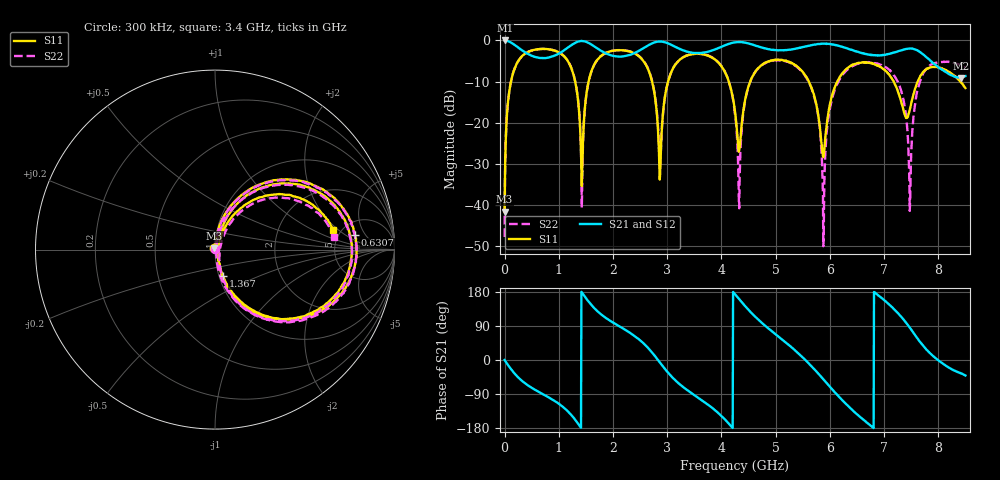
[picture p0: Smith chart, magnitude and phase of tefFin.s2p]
# Hz S RI R 50
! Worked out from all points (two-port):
!   1201 points, 300 kHz to 8.5 GHz, reference 50 ohm
!   highest |S21| = 0.00 dB at 7.383 MHz (marker M1); lowest = -9.1 dB at 8.415 GHz (marker M2)
!   |S21| within 3 dB of the highest: 2.406 GHz to 3.471 GHz (1.065 GHz wide, 36.2 % of centre); 3.647 GHz to 6.576 GHz (2.929 GHz wide, 57.3 % of centre)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
!   lowest |S11| = -41.6 dB at 300 kHz (marker M3), VSWR 1.02, Z = 49.7 + j0.755 ohm
!   |S11| at or under -10 dB: 4.136 GHz to 4.53 GHz (394.4 MHz wide, 9.1 % of centre); 5.613 GHz to 6.137 GHz (524.3 MHz wide, 8.93 % of centre); 7.178 GHz to 7.622 GHz (444.2 MHz wide, 6 % of centre)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
!   |S22| runs from -50.0 to -2.0 dB; largest |S21 - S12| = 0.013
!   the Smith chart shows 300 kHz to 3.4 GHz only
!   S11 on the Smith chart (normalised r, x): 300 kHz: 0.99, +0.02; 630.7 MHz: 6.99, +2.95; 1.367 GHz: 1.04, -0.32; 3.4 GHz: 4.34, +1.66
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300000  -0.00329 0.0076  0.9991 -0.000611  0.9958 -0.00525  0.001 0.00396
7383083  0.00201 0.0223  0.9994 -0.0286  0.9992 -0.0275  0.00237 0.0218
1.419617e8  0.179 0.326  0.8122 -0.4409  0.8117 -0.4397  0.1818 0.3229
6.306944e8  0.7798 0.0813  0.061 -0.6126  0.0608 -0.612  0.7813 0.0694
1.367335e9  0.0446 -0.1487  -0.9594 -0.1677  -0.96 -0.1659  0.0323 -0.155
1.416917e9  0.0169 -0.0211  -0.9866 0.000688  -0.9863 -0.000308  0.00705 -0.0241
1.60816e9  0.2635 0.3465  -0.718 0.522  -0.7171 0.5209  0.2642 0.3425
2.040228e9  0.7531 0.082  -0.0622 0.6415  -0.0603 0.6403  0.7558 0.0587
2.628124e9  0.2909 -0.3771  0.7035 0.4864  0.704 0.4878  0.2879 -0.3873
2.840616e9  0.0197 -0.0549  0.9685 -0.0338  0.9674 -0.0324  0.0247 -0.0605
3.40018e9  0.6584 0.1065  0.0903 -0.7137  0.0925 -0.7148  0.6653 0.0686
4.25015e9  0.042 -0.1305  -0.9423 0.1057  -0.9412 0.1066  -0.0123 -0.1308
4.335147e9  0.0486 0.00662  -0.8929 0.3397  -0.8935 0.339  0.0145 0.0146
4.795547e9  0.5257 0.0778  -0.0266 0.8054  -0.0259 0.8023  0.5286 -0.0268
5.666767e9  0.0529 -0.2548  0.8386 -0.261  0.8369 -0.2574  -0.11 -0.2323
5.879259e9  0.0351 -0.0149  0.5775 -0.7087  0.578 -0.7087  -0.00314 -0.000399
6.205081e9  0.3724 0.0561  -0.1821 -0.8277  -0.1833 -0.8268  0.3332 -0.1359
7.090466e9  -0.1093 -0.3721  -0.5758 0.3729  -0.5751 0.3662  -0.2539 -0.3636
7.472953e9  0.0201 0.1407  0.0611 0.7956  0.0585 0.7955  -0.00632 0.00567
7.720861e9  0.4113 -0.0611  0.5383 0.4105  0.5428 0.4113  0.2781 -0.2859
8.415003e9  -0.0842 -0.3015  0.2875 -0.2011  0.2918 -0.2031  -0.2238 -0.4482
8.5e9  -0.1221 -0.2343  0.2789 -0.2418  0.2795 -0.2413  -0.2674 -0.3829
